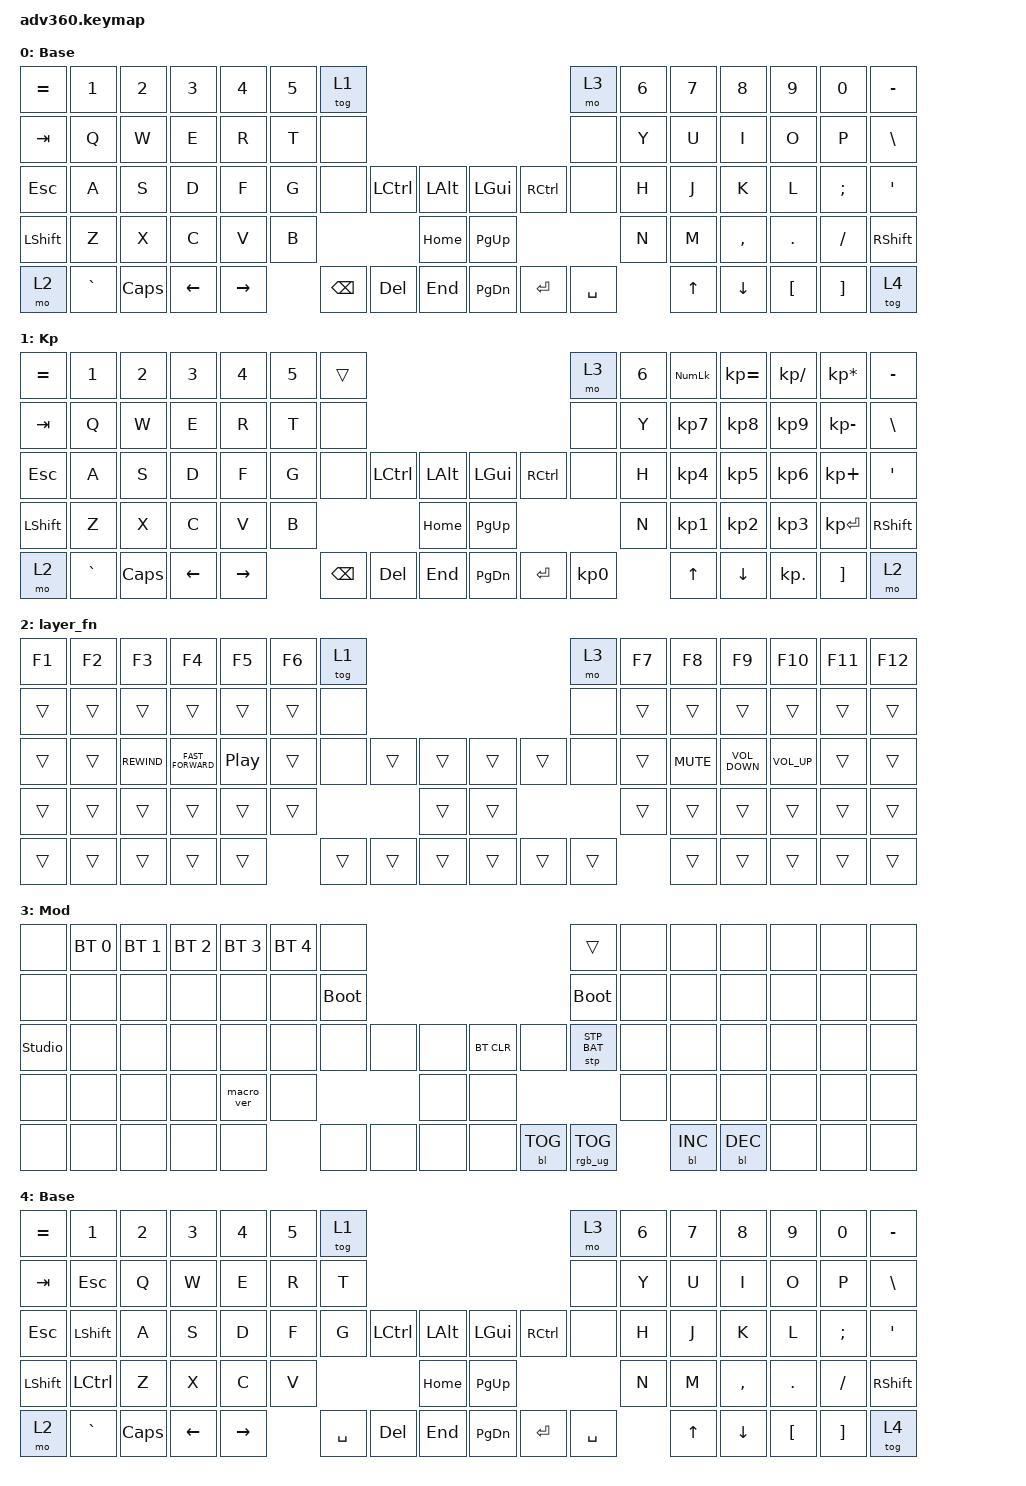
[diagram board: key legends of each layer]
#include <dt-bindings/zmk/stp.h>
#include <behaviors.dtsi>
#include <dt-bindings/zmk/backlight.h>
#include <dt-bindings/zmk/bt.h>
#include <dt-bindings/zmk/keys.h>
#include <dt-bindings/zmk/rgb.h>

/ {
    behaviors {
        #include "macros.dtsi"
      #include "version.dtsi"

        hm: homerow_mods {
            compatible = "zmk,behavior-hold-tap";
            label = "HOMEROW_MODS";
            #binding-cells = <2>;
            tapping-term-ms = <200>;
            quick_tap_ms = <175>;
            flavor = "tap-preferred";
            bindings = <&kp>, <&kp>;
        };
    };

    keymap {
        compatible = "zmk,keymap";

        default_layer {
            display-name = "Base";
            bindings = <
&kp EQUAL  &kp N1     &kp N2    &kp N3    &kp N4     &kp N5  &tog 1                                                   &mo 3      &kp N6  &kp N7  &kp N8     &kp N9    &kp N0    &kp MINUS
&kp TAB    &kp Q      &kp W     &kp E     &kp R      &kp T   &none                                                    &none      &kp Y   &kp U   &kp I      &kp O     &kp P     &kp BSLH
&kp ESC    &kp A      &kp S     &kp D     &kp F      &kp G   &none     &kp LCTRL  &kp LALT      &kp LGUI   &kp RCTRL  &none      &kp H   &kp J   &kp K      &kp L     &kp SEMI  &kp SQT
&kp LSHFT  &kp Z      &kp X     &kp C     &kp V      &kp B                        &kp HOME      &kp PG_UP                        &kp N   &kp M   &kp COMMA  &kp DOT   &kp FSLH  &kp RSHFT
&mo 2      &kp GRAVE  &kp CAPS  &kp LEFT  &kp RIGHT          &kp BSPC  &kp DEL    &kp END       &kp PG_DN  &kp ENTER  &kp SPACE          &kp UP  &kp DOWN   &kp LBKT  &kp RBKT  &tog 4
            >;
        };

        keypad {
            display-name = "Kp";
            bindings = <
&kp EQUAL  &kp N1     &kp N2    &kp N3    &kp N4     &kp N5  &trans                                                   &mo 3      &kp N6  &kp KP_NUM  &kp KP_EQUAL  &kp KP_DIVIDE  &kp KP_MULTIPLY  &kp MINUS
&kp TAB    &kp Q      &kp W     &kp E     &kp R      &kp T   &none                                                    &none      &kp Y   &kp KP_N7   &kp KP_N8     &kp KP_N9      &kp KP_MINUS     &kp BSLH
&kp ESC    &kp A      &kp S     &kp D     &kp F      &kp G   &none     &kp LCTRL  &kp LALT      &kp LGUI   &kp RCTRL  &none      &kp H   &kp KP_N4   &kp KP_N5     &kp KP_N6      &kp KP_PLUS      &kp SQT
&kp LSHFT  &kp Z      &kp X     &kp C     &kp V      &kp B                        &kp HOME      &kp PG_UP                        &kp N   &kp KP_N1   &kp KP_N2     &kp KP_N3      &kp KP_ENTER     &kp RSHFT
&mo 2      &kp GRAVE  &kp CAPS  &kp LEFT  &kp RIGHT          &kp BSPC  &kp DEL    &kp END       &kp PG_DN  &kp ENTER  &kp KP_N0          &kp UP      &kp DOWN      &kp KP_DOT     &kp RBKT         &mo 2
            >;
        };

        layer_fn {
            bindings = <
&kp F1  &kp F2  &kp F3        &kp F4              &kp F5            &kp F6  &tog 1                                      &mo 3   &kp F7  &kp F8      &kp F9             &kp F10          &kp F11  &kp F12
&trans  &trans  &trans        &trans              &trans            &trans  &none                                       &none   &trans  &trans      &trans             &trans           &trans   &trans
&trans  &trans  &kp C_REWIND  &kp C_FAST_FORWARD  &kp C_PLAY_PAUSE  &trans  &none   &trans  &trans      &trans  &trans  &none   &trans  &kp C_MUTE  &kp C_VOLUME_DOWN  &kp C_VOLUME_UP  &trans   &trans
&trans  &trans  &trans        &trans              &trans            &trans                  &trans      &trans                  &trans  &trans      &trans             &trans           &trans   &trans
&trans  &trans  &trans        &trans              &trans                    &trans  &trans  &trans      &trans  &trans  &trans          &trans      &trans             &trans           &trans   &trans
            >;
        };

        mod {
            display-name = "Mod";
            bindings = <
&none           &bt BT_SEL 0  &bt BT_SEL 1  &bt BT_SEL 2  &bt BT_SEL 3  &bt BT_SEL 4  &none                                                  &trans           &none  &none       &none       &none  &none  &none
&none           &none         &none         &none         &none         &none         &bootloader                                            &bootloader      &none  &none       &none       &none  &none  &none
&studio_unlock  &none         &none         &none         &none         &none         &none        &none  &none      &bt BT_CLR  &none       &stp STP_BAT     &none  &none       &none       &none  &none  &none
&none           &none         &none         &none         &macro_ver    &none                             &none      &none                                    &none  &none       &none       &none  &none  &none
&none           &none         &none         &none         &none                       &none        &none  &none      &none       &bl BL_TOG  &rgb_ug RGB_TOG         &bl BL_INC  &bl BL_DEC  &none  &none  &none
            >;
        };

        Gaming {
            display-name = "Base";
            bindings = <
&kp EQUAL  &kp N1            &kp N2    &kp N3    &kp N4     &kp N5  &tog 1                                                    &mo 3      &kp N6  &kp N7  &kp N8     &kp N9    &kp N0    &kp MINUS
&kp TAB    &kp ESC           &kp Q     &kp W     &kp E      &kp R   &kp T                                                     &none      &kp Y   &kp U   &kp I      &kp O     &kp P     &kp BSLH
&kp ESC    &kp LEFT_SHIFT    &kp A     &kp S     &kp D      &kp F   &kp G      &kp LCTRL  &kp LALT      &kp LGUI   &kp RCTRL  &none      &kp H   &kp J   &kp K      &kp L     &kp SEMI  &kp SQT
&kp LSHFT  &kp LEFT_CONTROL  &kp Z     &kp X     &kp C      &kp V                         &kp HOME      &kp PG_UP                        &kp N   &kp M   &kp COMMA  &kp DOT   &kp FSLH  &kp RSHFT
&mo 2      &kp GRAVE         &kp CAPS  &kp LEFT  &kp RIGHT          &kp SPACE  &kp DEL    &kp END       &kp PG_DN  &kp ENTER  &kp SPACE          &kp UP  &kp DOWN   &kp LBKT  &kp RBKT  &tog 4
            >;
        };
    };
};
